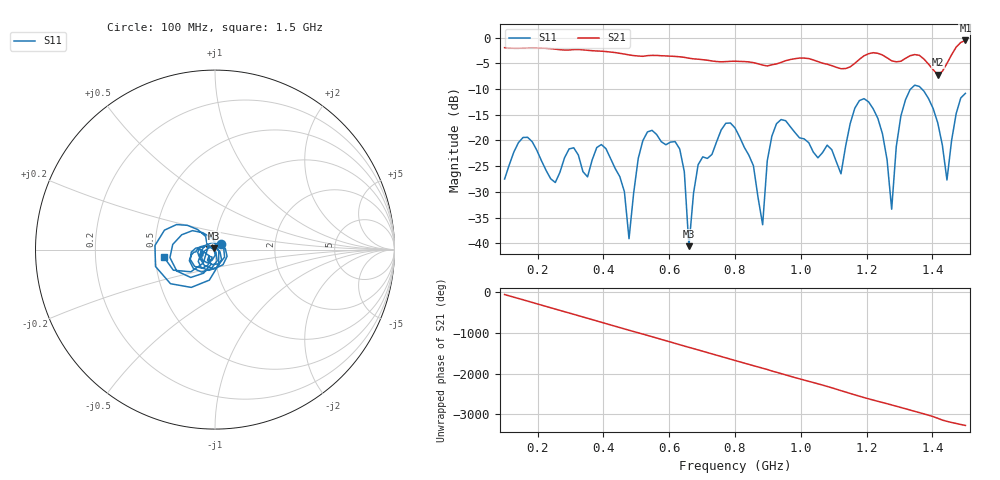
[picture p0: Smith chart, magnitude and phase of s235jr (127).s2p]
! NanoVNA-App
! Date: 2025-09-25 15:05:09
! Start: 100MHz Stop: 1,5GHz Points: 101
! S-Parameter data: F S11 S21 S12 S22
# Hz S RI R 50
!  Frequency  S11_Real  S11_Imag  S21_Real  S21_Imag  S12_Real  S12_Imag  S22_Real  S22_Imag
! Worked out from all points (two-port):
!   101 points, 100 MHz to 1.5 GHz, reference 50 ohm
!   highest |S21| = -0.56 dB at 1.5 GHz (marker M1); lowest = -7.2 dB at 1.416 GHz (marker M2)
!   |S21| within 3 dB of the highest: start of sweep to 502.1 MHz; 1.192 GHz to 1.253 GHz (60.93 MHz wide, 4.99 % of centre) (the widest 2 of 5)
!   lowest |S11| = -40.5 dB at 660 MHz (marker M3), VSWR 1.02, Z = 49.3 + j0.628 ohm
!   |S11| at or under -10 dB: start of sweep to 1.334 GHz; 1.368 GHz to end of sweep
!   S12 and S22 are empty: the file has one direction only
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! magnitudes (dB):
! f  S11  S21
! 100 MHz  -27.5  -2.0
! 156 MHz  -19.4  -2.0
! 338 MHz  -26.1  -2.4
! 408 MHz  -21.6  -2.7
! 478 MHz  -39.1  -3.4
! 520 MHz  -20.0  -3.6
! 576 MHz  -20.2  -3.5
! 632 MHz  -21.6  -3.7
! 660 MHz  -40.5  -4.0
! 688 MHz  -24.7  -4.2
! 800 MHz  -17.6  -4.6
! 884 MHz  -36.4  -5.3
! 926 MHz  -16.7  -5.1
! 1.038 GHz  -22.3  -4.4
! 1.122 GHz  -26.5  -6.1
! 1.206 GHz  -12.5  -3.1
! 1.276 GHz  -33.4  -4.5
! 1.304 GHz  -15.2  -4.6
! 1.332 GHz  -10.1  -3.5
! 1.416 GHz  -16.6  -7.2
! 1.444 GHz  -27.7  -5.0
! 1.5 GHz  -10.8  -0.6
